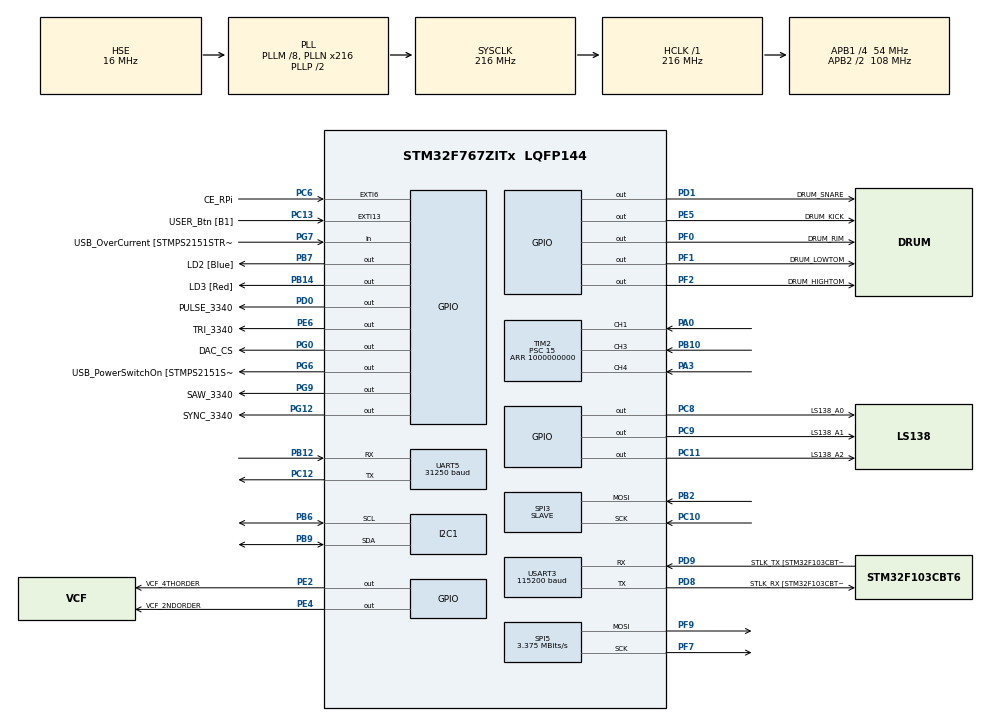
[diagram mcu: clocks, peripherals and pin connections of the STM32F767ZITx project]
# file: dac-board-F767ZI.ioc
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Mcu.Family=STM32F7
Mcu.Name=STM32F767ZITx
Mcu.Package=LQFP144
Mcu.UserConstants=UART_BAUD_RATE,115200
NVIC.EXTI15_10_IRQn=true\:0\:0\:false\:false\:true\:true\:true
NVIC.EXTI9_5_IRQn=true\:0\:0\:false\:false\:true\:true\:true
NVIC.PriorityGroup=NVIC_PRIORITYGROUP_4
NVIC.SPI5_IRQn=true\:0\:0\:false\:false\:true\:true\:true
NVIC.TIM1_UP_TIM10_IRQn=true\:0\:0\:false\:false\:true\:true\:true
NVIC.TIM2_IRQn=true\:0\:0\:false\:false\:true\:true\:true
NVIC.UART5_IRQn=true\:0\:0\:false\:false\:true\:true\:true
NVIC.USART3_IRQn=true\:0\:0\:false\:false\:true\:true\:true
PA0/WKUP.Signal=S_TIM2_CH1_ETR
PA1.GPIO_Label=RMII_REF_CLK [LAN8742A-CZ-TR_REFCLK0]
PA1.Signal=ETH_REF_CLK
PA10.GPIO_Label=USB_ID
PA10.Signal=USB_OTG_FS_ID
PA11.GPIO_Label=USB_DM
PA11.Signal=USB_OTG_FS_DM
PA12.GPIO_Label=USB_DP
PA12.Signal=USB_OTG_FS_DP
PA13.GPIO_Label=TMS
PA13.Signal=SYS_JTMS-SWDIO
PA14.GPIO_Label=TCK
PA14.Signal=SYS_JTCK-SWCLK
PA2.GPIO_Label=RMII_MDIO [LAN8742A-CZ-TR_MDIO]
PA2.Signal=ETH_MDIO
PA3.Signal=S_TIM2_CH4
PA7.GPIO_Label=RMII_CRS_DV [LAN8742A-CZ-TR_CRS_DV]
PA7.Signal=ETH_CRS_DV
PA8.GPIO_Label=USB_SOF [TP1]
PA8.Signal=USB_OTG_FS_SOF
PA9.GPIO_Label=USB_VBUS
PA9.Signal=USB_OTG_FS_VBUS
PB10.Signal=S_TIM2_CH3
PB12.Mode=Asynchronous
PB12.Signal=UART5_RX
PB13.GPIO_Label=RMII_TXD1 [LAN8742A-CZ-TR_TXD1]
PB13.Signal=ETH_TXD1
PB14.GPIO_Label=LD3 [Red]
PB14.Signal=GPIO_Output
PB2.Mode=RX_Only_Simplex_Unidirect_Slave
PB2.Signal=SPI3_MOSI
PB3.GPIO_Label=SW0
PB3.Signal=SYS_JTDO-SWO
PB6.Mode=I2C
PB6.Signal=I2C1_SCL
PB7.GPIO_Label=LD2 [Blue]
PB7.Signal=GPIO_Output
PB9.Mode=I2C
PB9.Signal=I2C1_SDA
PC1.GPIO_Label=RMII_MDC [LAN8742A-CZ-TR_MDC]
PC1.Signal=ETH_MDC
PC10.Mode=RX_Only_Simplex_Unidirect_Slave
PC10.Signal=SPI3_SCK
PC11.GPIO_Label=LS138_A2
PC11.GPIO_Speed=GPIO_SPEED_FREQ_HIGH
PC11.Signal=GPIO_Output
PC12.Mode=Asynchronous
PC12.Signal=UART5_TX
PC13.GPIO_Label=USER_Btn [B1]
PC13.GPIO_ModeDefaultEXTI=GPIO_MODE_IT_RISING_FALLING
PC13.GPIO_PuPd=GPIO_NOPULL
PC13.Signal=GPXTI13
PC14/OSC32_IN.Signal=RCC_OSC32_IN
PC15/OSC32_OUT.Signal=RCC_OSC32_OUT
PC4.GPIO_Label=RMII_RXD0 [LAN8742A-CZ-TR_RXD0]
PC4.Signal=ETH_RXD0
PC5.GPIO_Label=RMII_RXD1 [LAN8742A-CZ-TR_RXD1]
PC5.Signal=ETH_RXD1
PC6.GPIO_Label=CE_RPi
PC6.GPIO_ModeDefaultEXTI=GPIO_MODE_IT_FALLING
PC6.GPIO_PuPd=GPIO_PULLUP
PC6.Signal=GPXTI6
PC8.GPIO_Label=LS138_A0
PC8.GPIO_Speed=GPIO_SPEED_FREQ_HIGH
PC8.Signal=GPIO_Output
PC9.GPIO_Label=LS138_A1
PC9.GPIO_Speed=GPIO_SPEED_FREQ_HIGH
PC9.Signal=GPIO_Output
PD0.GPIO_Label=PULSE_3340
PD0.Signal=GPIO_Output
PD1.GPIO_Label=DRUM_SNARE
PD1.Signal=GPIO_Output
PD8.GPIO_Label=STLK_RX [STM32F103CBT6_PA3]
PD8.Mode=Asynchronous
PD8.Signal=USART3_TX
PD9.GPIO_Label=STLK_TX [STM32F103CBT6_PA2]
PD9.Mode=Asynchronous
PD9.Signal=USART3_RX
PE2.GPIO_Label=VCF_4THORDER
PE2.Signal=GPIO_Output
PE4.GPIO_Label=VCF_2NDORDER
PE4.Signal=GPIO_Output
PE5.GPIO_Label=DRUM_KICK
PE5.Signal=GPIO_Output
PE6.GPIO_Label=TRI_3340
PE6.Signal=GPIO_Output
PF0.GPIO_Label=DRUM_RIM
PF0.Signal=GPIO_Output
PF1.GPIO_Label=DRUM_LOWTOM
PF1.Signal=GPIO_Output
PF2.GPIO_Label=DRUM_HIGHTOM
PF2.Signal=GPIO_Output
PF7.Mode=TX_Only_Simplex_Unidirect_Master
PF7.Signal=SPI5_SCK
PF9.Mode=TX_Only_Simplex_Unidirect_Master
PF9.Signal=SPI5_MOSI
PG0.GPIO_Label=DAC_CS
PG0.GPIO_Speed=GPIO_SPEED_FREQ_HIGH
PG0.Signal=GPIO_Output
PG11.GPIO_Label=RMII_TX_EN [LAN8742A-CZ-TR_TXEN]
PG11.Signal=ETH_TX_EN
PG12.GPIO_Label=SYNC_3340
PG12.Signal=GPIO_Output
PG13.GPIO_Label=RMII_TXD0 [LAN8742A-CZ-TR_TXD0]
PG13.Signal=ETH_TXD0
PG6.GPIO_Label=USB_PowerSwitchOn [STMPS2151STR_EN]
PG6.GPIO_Speed=GPIO_SPEED_FREQ_MEDIUM
PG6.Signal=GPIO_Output
PG7.GPIO_Label=USB_OverCurrent [STMPS2151STR_FAULT]
PG7.Signal=GPIO_Input
PG9.GPIO_Label=SAW_3340
PG9.Signal=GPIO_Output
PH0/OSC_IN.GPIO_Label=MCO [STM32F103CBT6_PA8]
PH0/OSC_IN.Mode=HSE-External-Oscillator
PH0/OSC_IN.Signal=RCC_OSC_IN
PH1/OSC_OUT.Mode=HSE-External-Oscillator
PH1/OSC_OUT.Signal=RCC_OSC_OUT
ProjectManager.HeapSize=0x200
ProjectManager.StackSize=0x400
ProjectManager.TargetToolchain=STM32CubeIDE
RCC.48MHZClocksFreq_Value=24000000
RCC.AHBFreq_Value=216000000
RCC.APB1CLKDivider=RCC_HCLK_DIV4
RCC.APB1Freq_Value=54000000
RCC.APB1TimFreq_Value=108000000
RCC.APB2CLKDivider=RCC_HCLK_DIV2
RCC.APB2Freq_Value=108000000
RCC.APB2TimFreq_Value=216000000
RCC.CortexFreq_Value=216000000
RCC.HCLKFreq_Value=216000000
RCC.HSE_VALUE=16000000
RCC.HSI_VALUE=16000000
RCC.I2C1CLockSelection=RCC_I2C1CLKSOURCE_HSI
RCC.LSE_VALUE=32768
RCC.PLLM=8
RCC.PLLMUL=RCC_PLL_MUL9
RCC.PLLN=216
RCC.PLLSourceVirtual=RCC_PLLSOURCE_HSE
RCC.PRESCALERUSB=RCC_USBCLKSOURCE_PLL_DIV1_5
RCC.SYSCLKFreq_VALUE=216000000
RCC.SYSCLKSource=RCC_SYSCLKSOURCE_PLLCLK
RCC.SYSCLKSourceVirtual=RCC_SYSCLKSOURCE_PLLCLK
RCC.UART5CLockSelection=RCC_UART5CLKSOURCE_HSI
RCC.USART3CLockSelection=RCC_USART3CLKSOURCE_HSI
RCC.USBFreq_Value=216000000
RCC.VCOOutputFreq_Value=432000000
SH.S_TIM2_CH1_ETR.0=TIM2_CH1,Input_Capture1_from_TI1
SH.S_TIM2_CH3.0=TIM2_CH3,Input_Capture3_from_TI3
SH.S_TIM2_CH4.0=TIM2_CH4,Input_Capture4_from_TI4
SPI3.Direction=SPI_DIRECTION_2LINES_RXONLY
SPI3.Mode=SPI_MODE_SLAVE
SPI3.VirtualType=VM_SLAVE
SPI5.BaudRatePrescaler=SPI_BAUDRATEPRESCALER_32
SPI5.CalculateBaudRate=3.375 MBits/s
SPI5.DataSize=SPI_DATASIZE_8BIT
SPI5.Direction=SPI_DIRECTION_2LINES
SPI5.Mode=SPI_MODE_MASTER
SPI5.VirtualType=VM_MASTER
TIM1.Period=50
TIM1.Prescaler=100
TIM2.Channel-Input_Capture1_from_TI1=TIM_CHANNEL_1
TIM2.Channel-Input_Capture3_from_TI3=TIM_CHANNEL_3
TIM2.Channel-Input_Capture4_from_TI4=TIM_CHANNEL_4
TIM2.ICFilter_CH1=15
TIM2.ICFilter_CH3=15
TIM2.ICFilter_CH4=15
TIM2.ICPrescaler-Input_Capture1_from_TI1=TIM_ICPSC_DIV8
TIM2.ICPrescaler-Input_Capture3_from_TI3=TIM_ICPSC_DIV8
TIM2.ICPrescaler-Input_Capture4_from_TI4=TIM_ICPSC_DIV8
TIM2.Period=1000000000
TIM2.Prescaler=15
UART5.BaudRate=31250
USART3.BaudRate=115200
USART3.VirtualMode-Asynchronous=VM_ASYNC
VP_TIM1_VS_ClockSourceINT.Mode=Internal
VP_TIM2_VS_ClockSourceINT.Mode=Internal
board=NUCLEO-F767ZI

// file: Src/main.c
/* USER CODE BEGIN Header */
/**
 ******************************************************************************
 * @file           : main.c
 * @brief          : Main program body
 ******************************************************************************
 * @attention
 *
 * <h2><center>&copy; Copyright (c) 2019 STMicroelectronics.
 * All rights reserved.</center></h2>
 *
 * This software component is licensed by ST under BSD 3-Clause license,
 * the "License"; You may not use this file except in compliance with the
 * License. You may obtain a copy of the License at:
 *                        opensource.org/licenses/BSD-3-Clause
 *
 ******************************************************************************
 */
/* USER CODE END Header */

#include "main.h"

/* USER CODE BEGIN Includes */
#include "dac_board.h"
#include "midi.h"
#include "adsr.h"
#include "vco_calibration.h"
#include "stdio.h"
#include "mcp4822.h"
#include "vco.h"
#include "vcf.h"

/* USER CODE END Includes */

/* USER CODE BEGIN PD */

#define PRINTF // comment out if no printf() to host PC is needed
#define USE_FULL_ASSERT // for debugging leave uncommented

/* USER CODE END PD */

I2C_HandleTypeDef hi2c1;

SPI_HandleTypeDef hspi3;
SPI_HandleTypeDef hspi5;

TIM_HandleTypeDef htim1;
TIM_HandleTypeDef htim2;

UART_HandleTypeDef huart5;
UART_HandleTypeDef huart3;

/* USER CODE BEGIN PV */
/* Private variables ---------------------------------------------------------*/

// the following variables are actually just kind of aliases for handles just above
// the point is that our code should only use, e.g., hspiDacs instead of hspi3
// so that any change of SPI bus numbering in the future will not affect our code
// except for the initialization line hspiDacs=&hspi3 of course
SPI_HandleTypeDef *hspiDacs;
SPI_HandleTypeDef *hspiMidi;

TIM_HandleTypeDef *htimDacs; // timer for DAC updates (vca, vcf, vco etc)
TIM_HandleTypeDef *htimCalib; // timer for VCO calibration

UART_HandleTypeDef *huartMidi;
UART_HandleTypeDef *huartSTlink;

uint8_t rxUartSTlinkBuff[3]; // RX BUFF for UART coming from host PC (three MIDI bytes)
uint8_t rxSpiMidiBuff[3]; // RX BUFF for SPI_rpi coming from RPi (three MIDI bytes)

/* USER CODE END PV */

void SystemClock_Config(void);
static void MX_GPIO_Init(void);
static void MX_I2C1_Init(void);
static void MX_SPI3_Init(void);
static void MX_TIM1_Init(void);
static void MX_TIM2_Init(void);
static void MX_SPI5_Init(void);
static void MX_UART5_Init(void);
static void MX_USART3_UART_Init(void);
/* USER CODE BEGIN PFP */
/* Private function prototypes -----------------------------------------------*/

/* USER CODE END PFP */

int main(void) {

	/* USER CODE BEGIN 1 */

	// make alias to ease code reading and future changes:
	hspiDacs = &hspi5;
	hspiMidi = &hspi3;
	htimDacs = &htim1;
	htimCalib = &htim2;
	huartMidi = &huart5;  // 31250 bauds
	huartSTlink = &huart3; // 115200 bauds

	/* USER CODE END 1 */

	/* MCU Configuration--------------------------------------------------------*/

	/* Reset of all peripherals, Initializes the Flash interface and the Systick. */
	HAL_Init();

	/* Configure the system clock */
	SystemClock_Config();

	/* Initialize all configured peripherals */
	MX_GPIO_Init();
	MX_I2C1_Init();
	MX_SPI3_Init();
	MX_TIM1_Init();
	MX_TIM2_Init();
	MX_SPI5_Init();
	MX_UART5_Init();
	MX_USART3_UART_Init();
	/* USER CODE BEGIN 2 */

	initAdsrParameters();
	initSynthParams(); // be sure to do this BEFORE starting htimDacs!
	startDacTIM(); // start timer responsible for updating ADSR enveloppes and writing to DACs
	HAL_UART_Receive_IT(huartSTlink, rxUartSTlinkBuff, 3); // starts listening to incoming message over ST-link USB virtual com port

	// === VCO Calibration mode===
	//runVcoCalibration(); // busy loop until calibration is over (uncomment when needed)

	/* USER CODE END 2 */

	/* Infinite loop */
	/* USER CODE BEGIN WHILE */

	int i = 0;

	while (1) {

		/* USER CODE END WHILE */

		/* USER CODE BEGIN 3 */

		//testDacSelect();
		//testDacWriteSPI();
		//testScale();
		//testVcf();
		//testGPIOVcfVco();
		HAL_Delay(500);
		toggleBlueLED();

		HAL_UART_Receive_IT(huartSTlink, rxUartSTlinkBuff, 3); // wait for next MIDI msg
		//printf("%d\n", i);

		i++;
		if (i>127)i=0;

	}
	/* USER CODE END 3 */
}

void SystemClock_Config(void) {
	RCC_OscInitTypeDef RCC_OscInitStruct = { 0 };
	RCC_ClkInitTypeDef RCC_ClkInitStruct = { 0 };
	RCC_PeriphCLKInitTypeDef PeriphClkInitStruct = { 0 };

	/** Configure the main internal regulator output voltage
	 */
	__HAL_RCC_PWR_CLK_ENABLE();
	__HAL_PWR_VOLTAGESCALING_CONFIG(PWR_REGULATOR_VOLTAGE_SCALE1);
	/** Initializes the CPU, AHB and APB busses clocks
	 */
	RCC_OscInitStruct.OscillatorType = RCC_OSCILLATORTYPE_HSI
			| RCC_OSCILLATORTYPE_HSE;
	RCC_OscInitStruct.HSEState = RCC_HSE_ON;
	RCC_OscInitStruct.HSIState = RCC_HSI_ON;
	RCC_OscInitStruct.HSICalibrationValue = RCC_HSICALIBRATION_DEFAULT;
	RCC_OscInitStruct.PLL.PLLState = RCC_PLL_ON;
	RCC_OscInitStruct.PLL.PLLSource = RCC_PLLSOURCE_HSE;
	RCC_OscInitStruct.PLL.PLLM = 8;
	RCC_OscInitStruct.PLL.PLLN = 216;
	RCC_OscInitStruct.PLL.PLLP = RCC_PLLP_DIV2;
	RCC_OscInitStruct.PLL.PLLQ = 2;
	if (HAL_RCC_OscConfig(&RCC_OscInitStruct) != HAL_OK) {
		Error_Handler();
	}
	/** Activate the Over-Drive mode
	 */
	if (HAL_PWREx_EnableOverDrive() != HAL_OK) {
		Error_Handler();
	}
	/** Initializes the CPU, AHB and APB busses clocks
	 */
	RCC_ClkInitStruct.ClockType = RCC_CLOCKTYPE_HCLK | RCC_CLOCKTYPE_SYSCLK
			| RCC_CLOCKTYPE_PCLK1 | RCC_CLOCKTYPE_PCLK2;
	RCC_ClkInitStruct.SYSCLKSource = RCC_SYSCLKSOURCE_PLLCLK;
	RCC_ClkInitStruct.AHBCLKDivider = RCC_SYSCLK_DIV1;
	RCC_ClkInitStruct.APB1CLKDivider = RCC_HCLK_DIV4;
	RCC_ClkInitStruct.APB2CLKDivider = RCC_HCLK_DIV2;

	if (HAL_RCC_ClockConfig(&RCC_ClkInitStruct, FLASH_LATENCY_7) != HAL_OK) {
		Error_Handler();
	}
	PeriphClkInitStruct.PeriphClockSelection = RCC_PERIPHCLK_USART3
			| RCC_PERIPHCLK_UART5 | RCC_PERIPHCLK_I2C1;
	PeriphClkInitStruct.Usart3ClockSelection = RCC_USART3CLKSOURCE_HSI;
	PeriphClkInitStruct.Uart5ClockSelection = RCC_UART5CLKSOURCE_HSI;
	PeriphClkInitStruct.I2c1ClockSelection = RCC_I2C1CLKSOURCE_HSI;
	if (HAL_RCCEx_PeriphCLKConfig(&PeriphClkInitStruct) != HAL_OK) {
		Error_Handler();
	}
}

static void MX_I2C1_Init(void) {

	hi2c1.Instance = I2C1;
	hi2c1.Init.Timing = 0x00303D5B;
	hi2c1.Init.OwnAddress1 = 0;
	hi2c1.Init.AddressingMode = I2C_ADDRESSINGMODE_7BIT;
	hi2c1.Init.DualAddressMode = I2C_DUALADDRESS_DISABLE;
	hi2c1.Init.OwnAddress2 = 0;
	hi2c1.Init.OwnAddress2Masks = I2C_OA2_NOMASK;
	hi2c1.Init.GeneralCallMode = I2C_GENERALCALL_DISABLE;
	hi2c1.Init.NoStretchMode = I2C_NOSTRETCH_DISABLE;
	if (HAL_I2C_Init(&hi2c1) != HAL_OK) {
		Error_Handler();
	}
	/** Configure Analogue filter
	 */
	if (HAL_I2CEx_ConfigAnalogFilter(&hi2c1, I2C_ANALOGFILTER_ENABLE)
			!= HAL_OK) {
		Error_Handler();
	}
	/** Configure Digital filter
	 */
	if (HAL_I2CEx_ConfigDigitalFilter(&hi2c1, 0) != HAL_OK) {
		Error_Handler();
	}

}

static void MX_SPI3_Init(void) {

	/* SPI3 parameter configuration*/
	hspi3.Instance = SPI3;
	hspi3.Init.Mode = SPI_MODE_SLAVE;
	hspi3.Init.Direction = SPI_DIRECTION_2LINES_RXONLY;
	hspi3.Init.DataSize = SPI_DATASIZE_4BIT;
	hspi3.Init.CLKPolarity = SPI_POLARITY_LOW;
	hspi3.Init.CLKPhase = SPI_PHASE_1EDGE;
	hspi3.Init.NSS = SPI_NSS_SOFT;
	hspi3.Init.FirstBit = SPI_FIRSTBIT_MSB;
	hspi3.Init.TIMode = SPI_TIMODE_DISABLE;
	hspi3.Init.CRCCalculation = SPI_CRCCALCULATION_DISABLE;
	hspi3.Init.CRCPolynomial = 7;
	hspi3.Init.CRCLength = SPI_CRC_LENGTH_DATASIZE;
	hspi3.Init.NSSPMode = SPI_NSS_PULSE_DISABLE;
	if (HAL_SPI_Init(&hspi3) != HAL_OK) {
		Error_Handler();
	}

}

static void MX_SPI5_Init(void) {

	/* SPI5 parameter configuration*/
	hspi5.Instance = SPI5;
	hspi5.Init.Mode = SPI_MODE_MASTER;
	hspi5.Init.Direction = SPI_DIRECTION_2LINES;
	hspi5.Init.DataSize = SPI_DATASIZE_8BIT;
	hspi5.Init.CLKPolarity = SPI_POLARITY_LOW;
	hspi5.Init.CLKPhase = SPI_PHASE_1EDGE;
	hspi5.Init.NSS = SPI_NSS_SOFT;
	hspi5.Init.BaudRatePrescaler = SPI_BAUDRATEPRESCALER_32;
	hspi5.Init.FirstBit = SPI_FIRSTBIT_MSB;
	hspi5.Init.TIMode = SPI_TIMODE_DISABLE;
	hspi5.Init.CRCCalculation = SPI_CRCCALCULATION_DISABLE;
	hspi5.Init.CRCPolynomial = 7;
	hspi5.Init.CRCLength = SPI_CRC_LENGTH_DATASIZE;
	hspi5.Init.NSSPMode = SPI_NSS_PULSE_ENABLE;
	if (HAL_SPI_Init(&hspi5) != HAL_OK) {
		Error_Handler();
	}

}

static void MX_TIM1_Init(void) {

	TIM_ClockConfigTypeDef sClockSourceConfig = { 0 };
	TIM_MasterConfigTypeDef sMasterConfig = { 0 };

	htim1.Instance = TIM1;
	htim1.Init.Prescaler = 100;
	htim1.Init.CounterMode = TIM_COUNTERMODE_UP;
	htim1.Init.Period = 50;
	htim1.Init.ClockDivision = TIM_CLOCKDIVISION_DIV1;
	htim1.Init.RepetitionCounter = 0;
	htim1.Init.AutoReloadPreload = TIM_AUTORELOAD_PRELOAD_DISABLE;
	if (HAL_TIM_Base_Init(&htim1) != HAL_OK) {
		Error_Handler();
	}
	sClockSourceConfig.ClockSource = TIM_CLOCKSOURCE_INTERNAL;
	if (HAL_TIM_ConfigClockSource(&htim1, &sClockSourceConfig) != HAL_OK) {
		Error_Handler();
	}
	sMasterConfig.MasterOutputTrigger = TIM_TRGO_RESET;
	sMasterConfig.MasterOutputTrigger2 = TIM_TRGO2_RESET;
	sMasterConfig.MasterSlaveMode = TIM_MASTERSLAVEMODE_DISABLE;
	if (HAL_TIMEx_MasterConfigSynchronization(&htim1, &sMasterConfig)
			!= HAL_OK) {
		Error_Handler();
	}

}

static void MX_TIM2_Init(void) {

	TIM_ClockConfigTypeDef sClockSourceConfig = { 0 };
	TIM_MasterConfigTypeDef sMasterConfig = { 0 };
	TIM_IC_InitTypeDef sConfigIC = { 0 };

	htim2.Instance = TIM2;
	htim2.Init.Prescaler = 15;
	htim2.Init.CounterMode = TIM_COUNTERMODE_UP;
	htim2.Init.Period = 1000000000;
	htim2.Init.ClockDivision = TIM_CLOCKDIVISION_DIV1;
	htim2.Init.AutoReloadPreload = TIM_AUTORELOAD_PRELOAD_DISABLE;
	if (HAL_TIM_Base_Init(&htim2) != HAL_OK) {
		Error_Handler();
	}
	sClockSourceConfig.ClockSource = TIM_CLOCKSOURCE_INTERNAL;
	if (HAL_TIM_ConfigClockSource(&htim2, &sClockSourceConfig) != HAL_OK) {
		Error_Handler();
	}
	if (HAL_TIM_IC_Init(&htim2) != HAL_OK) {
		Error_Handler();
	}
	sMasterConfig.MasterOutputTrigger = TIM_TRGO_RESET;
	sMasterConfig.MasterSlaveMode = TIM_MASTERSLAVEMODE_DISABLE;
	if (HAL_TIMEx_MasterConfigSynchronization(&htim2, &sMasterConfig)
			!= HAL_OK) {
		Error_Handler();
	}
	sConfigIC.ICPolarity = TIM_INPUTCHANNELPOLARITY_RISING;
	sConfigIC.ICSelection = TIM_ICSELECTION_DIRECTTI;
	sConfigIC.ICPrescaler = TIM_ICPSC_DIV8;
	sConfigIC.ICFilter = 15;
	if (HAL_TIM_IC_ConfigChannel(&htim2, &sConfigIC, TIM_CHANNEL_1) != HAL_OK) {
		Error_Handler();
	}
	if (HAL_TIM_IC_ConfigChannel(&htim2, &sConfigIC, TIM_CHANNEL_3) != HAL_OK) {
		Error_Handler();
	}
	if (HAL_TIM_IC_ConfigChannel(&htim2, &sConfigIC, TIM_CHANNEL_4) != HAL_OK) {
		Error_Handler();
	}

}

static void MX_UART5_Init(void) {

	huart5.Instance = UART5;
	huart5.Init.BaudRate = 31250;
	huart5.Init.WordLength = UART_WORDLENGTH_8B;
	huart5.Init.StopBits = UART_STOPBITS_1;
	huart5.Init.Parity = UART_PARITY_NONE;
	huart5.Init.Mode = UART_MODE_TX_RX;
	huart5.Init.HwFlowCtl = UART_HWCONTROL_NONE;
	huart5.Init.OverSampling = UART_OVERSAMPLING_16;
	huart5.Init.OneBitSampling = UART_ONE_BIT_SAMPLE_DISABLE;
	huart5.AdvancedInit.AdvFeatureInit = UART_ADVFEATURE_NO_INIT;
	if (HAL_UART_Init(&huart5) != HAL_OK) {
		Error_Handler();
	}

}

static void MX_USART3_UART_Init(void) {

	huart3.Instance = USART3;
	huart3.Init.BaudRate = 115200;
	huart3.Init.WordLength = UART_WORDLENGTH_8B;
	huart3.Init.StopBits = UART_STOPBITS_1;
	huart3.Init.Parity = UART_PARITY_NONE;
	huart3.Init.Mode = UART_MODE_TX_RX;
	huart3.Init.HwFlowCtl = UART_HWCONTROL_NONE;
	huart3.Init.OverSampling = UART_OVERSAMPLING_16;
	huart3.Init.OneBitSampling = UART_ONE_BIT_SAMPLE_DISABLE;
	huart3.AdvancedInit.AdvFeatureInit = UART_ADVFEATURE_NO_INIT;
	if (HAL_UART_Init(&huart3) != HAL_OK) {
		Error_Handler();
	}

}

static void MX_GPIO_Init(void) {
	GPIO_InitTypeDef GPIO_InitStruct = { 0 };

	/* GPIO Ports Clock Enable */
	__HAL_RCC_GPIOE_CLK_ENABLE();
	__HAL_RCC_GPIOC_CLK_ENABLE();
	__HAL_RCC_GPIOF_CLK_ENABLE();
	__HAL_RCC_GPIOH_CLK_ENABLE();
	__HAL_RCC_GPIOA_CLK_ENABLE();
	__HAL_RCC_GPIOB_CLK_ENABLE();
	__HAL_RCC_GPIOG_CLK_ENABLE();
	__HAL_RCC_GPIOD_CLK_ENABLE();

	/*Configure GPIO pin Output Level */
	HAL_GPIO_WritePin(GPIOE,
			VCF_4THORDER_Pin | VCF_2NDORDER_Pin | DRUM_KICK_Pin | TRI_3340_Pin,
			GPIO_PIN_RESET);

	/*Configure GPIO pin Output Level */
	HAL_GPIO_WritePin(GPIOF, DRUM_RIM_Pin | DRUM_LOWTOM_Pin | DRUM_HIGHTOM_Pin,
			GPIO_PIN_RESET);

	/*Configure GPIO pin Output Level */
	HAL_GPIO_WritePin(GPIOG,
			DAC_CS_Pin | USB_PowerSwitchOn_Pin | SAW_3340_Pin | SYNC_3340_Pin,
			GPIO_PIN_RESET);

	/*Configure GPIO pin Output Level */
	HAL_GPIO_WritePin(GPIOB, LD3_Pin | LD2_Pin, GPIO_PIN_RESET);

	/*Configure GPIO pin Output Level */
	HAL_GPIO_WritePin(GPIOC, LS138_A0_Pin | LS138_A1_Pin | LS138_A2_Pin,
			GPIO_PIN_RESET);

	/*Configure GPIO pin Output Level */
	HAL_GPIO_WritePin(GPIOD, PULSE_3340_Pin | DRUM_SNARE_Pin, GPIO_PIN_RESET);

	/*Configure GPIO pins : VCF_4THORDER_Pin VCF_2NDORDER_Pin DRUM_KICK_Pin TRI_3340_Pin */
	GPIO_InitStruct.Pin = VCF_4THORDER_Pin | VCF_2NDORDER_Pin | DRUM_KICK_Pin
			| TRI_3340_Pin;
	GPIO_InitStruct.Mode = GPIO_MODE_OUTPUT_PP;
	GPIO_InitStruct.Pull = GPIO_NOPULL;
	GPIO_InitStruct.Speed = GPIO_SPEED_FREQ_LOW;
	HAL_GPIO_Init(GPIOE, &GPIO_InitStruct);

	/*Configure GPIO pin : USER_Btn_Pin */
	GPIO_InitStruct.Pin = USER_Btn_Pin;
	GPIO_InitStruct.Mode = GPIO_MODE_IT_RISING_FALLING;
	GPIO_InitStruct.Pull = GPIO_NOPULL;
	HAL_GPIO_Init(USER_Btn_GPIO_Port, &GPIO_InitStruct);

	/*Configure GPIO pins : DRUM_RIM_Pin DRUM_LOWTOM_Pin DRUM_HIGHTOM_Pin */
	GPIO_InitStruct.Pin = DRUM_RIM_Pin | DRUM_LOWTOM_Pin | DRUM_HIGHTOM_Pin;
	GPIO_InitStruct.Mode = GPIO_MODE_OUTPUT_PP;
	GPIO_InitStruct.Pull = GPIO_NOPULL;
	GPIO_InitStruct.Speed = GPIO_SPEED_FREQ_LOW;
	HAL_GPIO_Init(GPIOF, &GPIO_InitStruct);

	/*Configure GPIO pins : RMII_MDC_Pin RMII_RXD0_Pin RMII_RXD1_Pin */
	GPIO_InitStruct.Pin = RMII_MDC_Pin | RMII_RXD0_Pin | RMII_RXD1_Pin;
	GPIO_InitStruct.Mode = GPIO_MODE_AF_PP;
	GPIO_InitStruct.Pull = GPIO_NOPULL;
	GPIO_InitStruct.Speed = GPIO_SPEED_FREQ_VERY_HIGH;
	GPIO_InitStruct.Alternate = GPIO_AF11_ETH;
	HAL_GPIO_Init(GPIOC, &GPIO_InitStruct);

	/*Configure GPIO pins : RMII_REF_CLK_Pin RMII_MDIO_Pin RMII_CRS_DV_Pin */
	GPIO_InitStruct.Pin = RMII_REF_CLK_Pin | RMII_MDIO_Pin | RMII_CRS_DV_Pin;
	GPIO_InitStruct.Mode = GPIO_MODE_AF_PP;
	GPIO_InitStruct.Pull = GPIO_NOPULL;
	GPIO_InitStruct.Speed = GPIO_SPEED_FREQ_VERY_HIGH;
	GPIO_InitStruct.Alternate = GPIO_AF11_ETH;
	HAL_GPIO_Init(GPIOA, &GPIO_InitStruct);

	/*Configure GPIO pin : DAC_CS_Pin */
	GPIO_InitStruct.Pin = DAC_CS_Pin;
	GPIO_InitStruct.Mode = GPIO_MODE_OUTPUT_PP;
	GPIO_InitStruct.Pull = GPIO_NOPULL;
	GPIO_InitStruct.Speed = GPIO_SPEED_FREQ_HIGH;
	HAL_GPIO_Init(DAC_CS_GPIO_Port, &GPIO_InitStruct);

	/*Configure GPIO pin : RMII_TXD1_Pin */
	GPIO_InitStruct.Pin = RMII_TXD1_Pin;
	GPIO_InitStruct.Mode = GPIO_MODE_AF_PP;
	GPIO_InitStruct.Pull = GPIO_NOPULL;
	GPIO_InitStruct.Speed = GPIO_SPEED_FREQ_VERY_HIGH;
	GPIO_InitStruct.Alternate = GPIO_AF11_ETH;
	HAL_GPIO_Init(RMII_TXD1_GPIO_Port, &GPIO_InitStruct);

	/*Configure GPIO pins : LD3_Pin LD2_Pin */
	GPIO_InitStruct.Pin = LD3_Pin | LD2_Pin;
	GPIO_InitStruct.Mode = GPIO_MODE_OUTPUT_PP;
	GPIO_InitStruct.Pull = GPIO_NOPULL;
	GPIO_InitStruct.Speed = GPIO_SPEED_FREQ_LOW;
	HAL_GPIO_Init(GPIOB, &GPIO_InitStruct);

	/*Configure GPIO pin : USB_PowerSwitchOn_Pin */
	GPIO_InitStruct.Pin = USB_PowerSwitchOn_Pin;
	GPIO_InitStruct.Mode = GPIO_MODE_OUTPUT_PP;
	GPIO_InitStruct.Pull = GPIO_NOPULL;
	GPIO_InitStruct.Speed = GPIO_SPEED_FREQ_MEDIUM;
	HAL_GPIO_Init(USB_PowerSwitchOn_GPIO_Port, &GPIO_InitStruct);

	/*Configure GPIO pin : USB_OverCurrent_Pin */
	GPIO_InitStruct.Pin = USB_OverCurrent_Pin;
	GPIO_InitStruct.Mode = GPIO_MODE_INPUT;
	GPIO_InitStruct.Pull = GPIO_NOPULL;
	HAL_GPIO_Init(USB_OverCurrent_GPIO_Port, &GPIO_InitStruct);

	/*Configure GPIO pin : CE_RPi_Pin */
	GPIO_InitStruct.Pin = CE_RPi_Pin;
	GPIO_InitStruct.Mode = GPIO_MODE_IT_FALLING;
	GPIO_InitStruct.Pull = GPIO_PULLUP;
	HAL_GPIO_Init(CE_RPi_GPIO_Port, &GPIO_InitStruct);

	/*Configure GPIO pins : LS138_A0_Pin LS138_A1_Pin LS138_A2_Pin */
	GPIO_InitStruct.Pin = LS138_A0_Pin | LS138_A1_Pin | LS138_A2_Pin;
	GPIO_InitStruct.Mode = GPIO_MODE_OUTPUT_PP;
	GPIO_InitStruct.Pull = GPIO_NOPULL;
	GPIO_InitStruct.Speed = GPIO_SPEED_FREQ_HIGH;
	HAL_GPIO_Init(GPIOC, &GPIO_InitStruct);

	/*Configure GPIO pins : USB_SOF_Pin USB_ID_Pin USB_DM_Pin USB_DP_Pin */
	GPIO_InitStruct.Pin = USB_SOF_Pin | USB_ID_Pin | USB_DM_Pin | USB_DP_Pin;
	GPIO_InitStruct.Mode = GPIO_MODE_AF_PP;
	GPIO_InitStruct.Pull = GPIO_NOPULL;
	GPIO_InitStruct.Speed = GPIO_SPEED_FREQ_VERY_HIGH;
	GPIO_InitStruct.Alternate = GPIO_AF10_OTG_FS;
	HAL_GPIO_Init(GPIOA, &GPIO_InitStruct);

	/*Configure GPIO pin : USB_VBUS_Pin */
	GPIO_InitStruct.Pin = USB_VBUS_Pin;
	GPIO_InitStruct.Mode = GPIO_MODE_INPUT;
	GPIO_InitStruct.Pull = GPIO_NOPULL;
	HAL_GPIO_Init(USB_VBUS_GPIO_Port, &GPIO_InitStruct);

	/*Configure GPIO pins : PULSE_3340_Pin DRUM_SNARE_Pin */
	GPIO_InitStruct.Pin = PULSE_3340_Pin | DRUM_SNARE_Pin;
	GPIO_InitStruct.Mode = GPIO_MODE_OUTPUT_PP;
	GPIO_InitStruct.Pull = GPIO_NOPULL;
	GPIO_InitStruct.Speed = GPIO_SPEED_FREQ_LOW;
	HAL_GPIO_Init(GPIOD, &GPIO_InitStruct);

	/*Configure GPIO pins : SAW_3340_Pin SYNC_3340_Pin */
	GPIO_InitStruct.Pin = SAW_3340_Pin | SYNC_3340_Pin;
	GPIO_InitStruct.Mode = GPIO_MODE_OUTPUT_PP;
	GPIO_InitStruct.Pull = GPIO_NOPULL;
	GPIO_InitStruct.Speed = GPIO_SPEED_FREQ_LOW;
	HAL_GPIO_Init(GPIOG, &GPIO_InitStruct);

	/*Configure GPIO pins : RMII_TX_EN_Pin RMII_TXD0_Pin */
	GPIO_InitStruct.Pin = RMII_TX_EN_Pin | RMII_TXD0_Pin;
	GPIO_InitStruct.Mode = GPIO_MODE_AF_PP;
	GPIO_InitStruct.Pull = GPIO_NOPULL;
	GPIO_InitStruct.Speed = GPIO_SPEED_FREQ_VERY_HIGH;
	GPIO_InitStruct.Alternate = GPIO_AF11_ETH;
	HAL_GPIO_Init(GPIOG, &GPIO_InitStruct);

	/* EXTI interrupt init*/
	HAL_NVIC_SetPriority(EXTI9_5_IRQn, 0, 0);
	HAL_NVIC_EnableIRQ(EXTI9_5_IRQn);

	HAL_NVIC_SetPriority(EXTI15_10_IRQn, 0, 0);
	HAL_NVIC_EnableIRQ(EXTI15_10_IRQn);

}

/* USER CODE BEGIN 4 */

// our own implementation of putchar used by printf, so that printf is forwarded
// to the Virtual Com Port (need Hyperterminal or a dedicated terminal on the PC or Mac host station)
int __io_putchar(int ch) {

#ifdef PRINTF
	HAL_UART_Transmit(huartSTlink, (uint8_t*) &ch, 1, 0xFFFF); // beware blocking call!
#endif
	// it's possible to use non-blocking with function HAL_UART_Transmit_IT(...), see HAL documentation
	return ch;
}

// --------------------------------------------------------------------------------------------------
//                                     HAL interrupt handlers
// --------------------------------------------------------------------------------------------------

/**
 * Callback implementation for the SPI peripheral "end of transfer" interruption
 */
void HAL_SPI_TxCpltCallback(SPI_HandleTypeDef *hspi) {

	if (hspi == hspiDacs)
		spiDacMCP4822TxCpltCallback();
}

void HAL_TIM_IC_CaptureCallback(TIM_HandleTypeDef *htim) {

	if (htim == htimCalib)
		VCO_Calib_CaptureCallback();
}

void HAL_TIM_PeriodElapsedCallback(TIM_HandleTypeDef *htim) {

	if (htim == htimDacs)
		dacTIMCallback();
}

/**
 *  Called every time level changes on pin GPIO_Pin
 *  We "listen" to two pins:
 *  - CE_RPi_Pin: this pin is connected to the CE ("chip enable") signal of the Raspberry Pi ; this signal
 *  			gets low every time data is to be transmitted by the Raspberry Pi to the STM32 through the SPI3 bus
 *  - USER_Btn_Pin: this pin is connected to the blue button on the STM32 board; can be used for any kind of debugging purpose
 */
void HAL_GPIO_EXTI_Callback(uint16_t GPIO_Pin) {

	// RPi as note trigger
	if (GPIO_Pin == CE_RPi_Pin) { // CE0 from RaspBerryPi (PC6)

		// TODO :use HAL_SPI_Receive_IT
		HAL_SPI_Receive(hspiMidi, rxSpiMidiBuff, 3, HAL_MAX_DELAY); // read three MIDI bytes in a row
		processIncomingMidiMessage(rxSpiMidiBuff[0], rxSpiMidiBuff[1], rxSpiMidiBuff[2]);
	}

	// button blue as note trigger
	else if (GPIO_Pin == USER_Btn_Pin) { // PC13

		dac_Board_Switch1_ActionPerformed(HAL_GPIO_ReadPin(USER_Btn_GPIO_Port, USER_Btn_Pin));

	}
}

/**
 * Callback for the UART peripheral receive data process
 * Called when a given amount of data has been received on given UART port
 */
void HAL_UART_RxCpltCallback(UART_HandleTypeDef *huart) {

	if (huart == huartSTlink){ // TODO: validate
		//printf("Received: %s\n", rxUartSTlinkBuff);
		//toggleBlueLED();
		processIncomingMidiMessage(rxUartSTlinkBuff[0], rxUartSTlinkBuff[1], rxUartSTlinkBuff[2]);
		HAL_UART_Receive_IT(huartSTlink, rxUartSTlinkBuff, 3); // wait for next MIDI msg
	}
}

/* USER CODE END 4 */

void Error_Handler(void) {
	/* USER CODE BEGIN Error_Handler_Debug */
	/* User can add his own implementation to report the HAL error return state */
	printf("HAL Error !\n");
	while (1) {
	}
	/* USER CODE END Error_Handler_Debug */
}

#ifdef  USE_FULL_ASSERT
/**
 * @brief  Reports the name of the source file and the source line number
 *         where the assert_param error has occurred.
 * @param  file: pointer to the source file name
 * @param  line: assert_param error line source number
 * @retval None
 */
void assert_failed(uint8_t *file, uint32_t line) {
	/* USER CODE BEGIN 6 */
	printf("Wrong parameters value: file %s on line %d\r\n", file, (int) line);
	/* USER CODE END 6 */
}
#endif /* USE_FULL_ASSERT */

/************************ (C) COPYRIGHT STMicroelectronics *****END OF FILE****/
